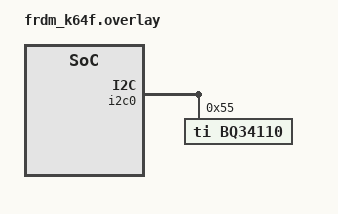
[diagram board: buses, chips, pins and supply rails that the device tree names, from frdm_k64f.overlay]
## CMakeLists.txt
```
# SPDX-License-Identifier: Apache-2.0

cmake_minimum_required(VERSION 3.13.1)
find_package(Zephyr REQUIRED HINTS $ENV{ZEPHYR_BASE})
project(bq34110)

FILE(GLOB app_sources src/*.c)
target_sources(app PRIVATE ${app_sources})
```

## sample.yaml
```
sample:
  description: Demonstration of the BQ34110 Fuel gauge Sensor driver
  name: BQ34110 Sample
tests:
  sample.sensor.bq34110:
    harness: sensor
    tags: sensors
    depends_on: i2c gpio
    platform_allow: frdm_k64f
```

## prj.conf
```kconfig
CONFIG_STDOUT_CONSOLE=y
CONFIG_I2C=y
CONFIG_GPIO=y
CONFIG_SENSOR=y
CONFIG_BQ34110=y
CONFIG_BUILD_OUTPUT_HEX=y
CONFIG_DEVICE_POWER_MANAGEMENT=n
CONFIG_NEWLIB_LIBC=y
CONFIG_NEWLIB_LIBC_FLOAT_PRINTF=y
CONFIG_LOG=y
```

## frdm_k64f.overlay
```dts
/*
 * Copyright (c) 2021 Linumiz
 *
 * SPDX-License-Identifier: Apache-2.0
 */

&i2c0 {
	bq34110@55 {
		compatible = "ti,bq34110";
		label = "BQ34110";
		reg = <0x55>;
		design-voltage = <3700>;
		design-capacity = <1800>;
		taper-current = <40>;
		taper-voltage = <3000>;
	};
};
```

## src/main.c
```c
/*
 * Copyright (c) 2021 Linumiz
 *
 * SPDX-License-Identifier: Apache-2.0
 */

#include <zephyr.h>
#include <device.h>
#include <drivers/sensor.h>
#include <sys/printk.h>

static void bq34110_show_values(const char *type, struct sensor_value value)
{
	if ((value.val2 < 0) && (value.val1 >= 0)) {
		value.val2 = -(value.val2);
		printk("%s: -%d.%06d\n", type, value.val1, value.val2);
	} else if ((value.val2 > 0) && (value.val1 < 0)) {
		printk("%s: %d.%06d\n", type, value.val1, value.val2);
	} else if ((value.val2 < 0) && (value.val1 < 0)) {
		value.val2 = -(value.val2);
		printk("%s: %d.%06d\n", type, value.val1, value.val2);
	} else {
		printk("%s: %d.%06d\n", type, value.val1, value.val2);
	}
}

static void do_main(const struct device *dev)
{
	int ret = 0, observation = 0;
	struct sensor_value voltage, current, state_of_charge,
	       full_charge_capacity, remaining_charge_capacity, avg_power,
	       int_temp, state_of_health, time_to_full, time_to_empty;

	while (1) {
		memset(&voltage, 0, sizeof(voltage));
		memset(&current, 0, sizeof(current));
		memset(&state_of_charge, 0, sizeof(state_of_charge));
		memset(&full_charge_capacity, 0, sizeof(full_charge_capacity));
		memset(&remaining_charge_capacity, 0, sizeof(remaining_charge_capacity));
		memset(&avg_power, 0, sizeof(avg_power));
		memset(&int_temp, 0, sizeof(int_temp));
		memset(&state_of_health, 0, sizeof(state_of_health));
		memset(&time_to_full, 0, sizeof(time_to_full));
		memset(&time_to_empty, 0, sizeof(time_to_empty));

		printk("Observation: %d\n", observation);

		ret = sensor_sample_fetch_chan(dev, SENSOR_CHAN_ALL);
		if (ret < 0) {
			printk("Unable to fetch the sensor data\n");
		}

		ret = sensor_channel_get(dev, SENSOR_CHAN_GAUGE_VOLTAGE,
					 &voltage);
		if (ret < 0) {
			printk("Unable to get the Voltage value\n");
		}

		printk("Voltage: %d.%06dV\n", voltage.val1, voltage.val2);

		ret = sensor_channel_get(dev, SENSOR_CHAN_GAUGE_AVG_CURRENT,
					 &current);
		if (ret < 0) {
			printk("Unable to get the Current Value\n");
		}

		bq34110_show_values("Avg Current in Amps", current);

		ret = sensor_channel_get(dev,
					 SENSOR_CHAN_GAUGE_STATE_OF_CHARGE,
					 &state_of_charge);
		if (ret < 0) {
			printk("Unable to get the State of Charge\n");
		}

		printk("State of Charge: %d%%\n", state_of_charge.val1);

		ret = sensor_channel_get(dev,
					 SENSOR_CHAN_GAUGE_STATE_OF_HEALTH,
					 &state_of_health);
		if (ret < 0) {
			printk("Unable to get State of Charge\n");
		}

		ret = sensor_channel_get(dev, SENSOR_CHAN_GAUGE_AVG_POWER,
					 &avg_power);
		if (ret < 0) {
			printk("Unable to get Avg Power\n");
		}

		bq34110_show_values("Avg Power in Watt", avg_power);

		ret = sensor_channel_get(dev,
			SENSOR_CHAN_GAUGE_FULL_CHARGE_CAPACITY,
			&full_charge_capacity);
		if (ret < 0) {
			printk("Unable to get Full Charge Capacity\n");
		}

		printk("Full Charge Capacity: %d.%06dAh\n",
		       full_charge_capacity.val1, full_charge_capacity.val2);

		ret = sensor_channel_get(dev,
				SENSOR_CHAN_GAUGE_REMAINING_CHARGE_CAPACITY,
				&remaining_charge_capacity);
		if (ret < 0) {
			printk("Unable to get Remaining Charge Capacity\n");
		}

		printk("Remaining Charge Capacity: %d.%06dAh\n",
		       remaining_charge_capacity.val1,
		       remaining_charge_capacity.val2);

		ret = sensor_channel_get(dev, SENSOR_CHAN_GAUGE_TEMP,
					 &int_temp);
		if (ret < 0) {
			printk("Unable to read Internal Temperature\n");
		}

		printk("Gauge Temperature: %d.%06d C\n", int_temp.val1,
		       int_temp.val2);

		ret = sensor_channel_get(dev,
					SENSOR_CHAN_GAUGE_TIME_TO_FULL,
					&time_to_full);
		if (ret < 0) {
			printk("Unable to read Time to Full\n");
		}

		printk("Time to Full: %dminutes\n", time_to_full.val1);

		ret = sensor_channel_get(dev,
					SENSOR_CHAN_GAUGE_TIME_TO_EMPTY,
					&time_to_empty);
		if (ret < 0) {
			printk("Unable to read Time to Empty\n");
		}

		printk("Time to empty: %dminutes\n", time_to_empty.val1);

		k_sleep(K_MSEC(5000));

		observation++;
	}
}

void main(void)
{
	const struct device *dev;

	dev = DEVICE_DT_GET_ANY(ti_bq34110);
	if (!dev) {
		printk("Failed to get device binding\n");
		return;
	}

	printk("device is %p, name is %s\n", dev, dev->name);

	do_main(dev);
}
```
